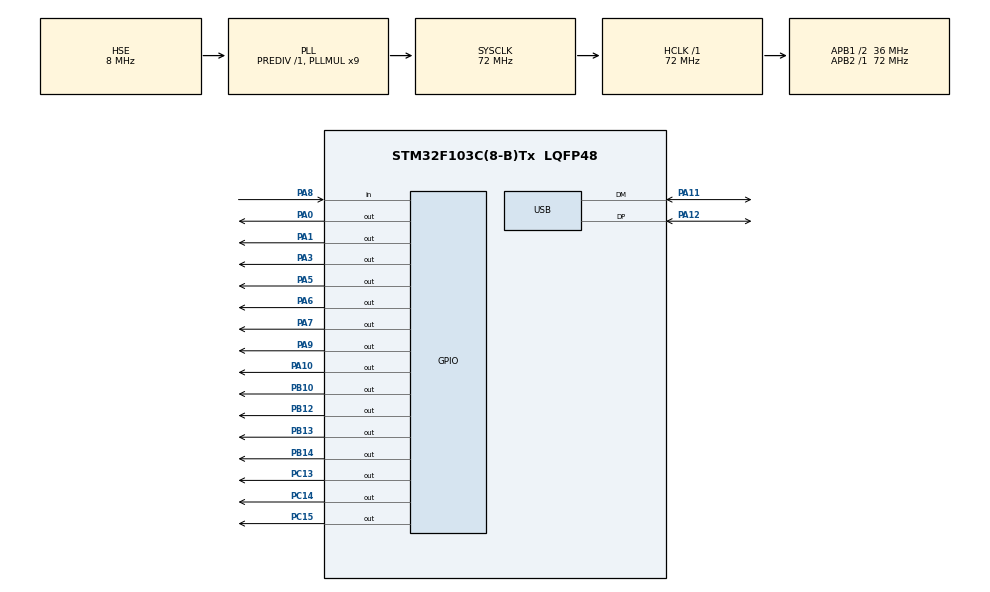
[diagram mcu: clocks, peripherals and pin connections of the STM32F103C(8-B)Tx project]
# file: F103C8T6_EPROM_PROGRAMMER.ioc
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Mcu.Family=STM32F1
Mcu.Name=STM32F103C(8-B)Tx
Mcu.Package=LQFP48
NVIC.PriorityGroup=NVIC_PRIORITYGROUP_4
NVIC.TIM2_IRQn=true\:0\:0\:false\:false\:true\:true\:true\:true
NVIC.TIM3_IRQn=true\:0\:0\:false\:false\:true\:true\:true\:true
NVIC.USB_LP_CAN1_RX0_IRQn=true\:0\:0\:false\:false\:true\:false\:true\:true
PA0-WKUP.Signal=GPIO_Output
PA1.Signal=GPIO_Output
PA10.Signal=GPIO_Output
PA11.Mode=Device
PA11.Signal=USB_DM
PA12.Mode=Device
PA12.Signal=USB_DP
PA13.Mode=Serial_Wire
PA13.Signal=SYS_JTMS-SWDIO
PA14.Mode=Serial_Wire
PA14.Signal=SYS_JTCK-SWCLK
PA3.Signal=GPIO_Output
PA5.Signal=GPIO_Output
PA6.Signal=GPIO_Output
PA7.Signal=GPIO_Output
PA8.Signal=GPIO_Input
PA9.Signal=GPIO_Output
PB10.Signal=GPIO_Output
PB12.Signal=GPIO_Output
PB13.Signal=GPIO_Output
PB14.Signal=GPIO_Output
PB3.Signal=SYS_JTDO-TRACESWO
PC13-TAMPER-RTC.Signal=GPIO_Output
PC14-OSC32_IN.Signal=GPIO_Output
PC15-OSC32_OUT.Signal=GPIO_Output
PD0-OSC_IN.Mode=HSE-External-Oscillator
PD0-OSC_IN.Signal=RCC_OSC_IN
PD1-OSC_OUT.Mode=HSE-External-Oscillator
PD1-OSC_OUT.Signal=RCC_OSC_OUT
ProjectManager.HeapSize=0x200
ProjectManager.StackSize=0x400
ProjectManager.TargetToolchain=STM32CubeIDE
RCC.AHBFreq_Value=72000000
RCC.APB1CLKDivider=RCC_HCLK_DIV2
RCC.APB1Freq_Value=36000000
RCC.APB1TimFreq_Value=72000000
RCC.APB2Freq_Value=72000000
RCC.APB2TimFreq_Value=72000000
RCC.HCLKFreq_Value=72000000
RCC.PLLMUL=RCC_PLL_MUL9
RCC.SYSCLKFreq_VALUE=72000000
RCC.SYSCLKSource=RCC_SYSCLKSOURCE_PLLCLK
RCC.USBFreq_Value=48000000
RCC.USBPrescaler=RCC_USBCLKSOURCE_PLL_DIV1_5
TIM2.Period=10000-1
TIM2.Prescaler=7600-1
TIM3.Period=2-1
TIM3.Prescaler=32-1
USB_DEVICE.CLASS_NAME_FS=CDC
USB_DEVICE.VirtualMode=Cdc
USB_DEVICE.VirtualModeFS=Cdc_FS
VP_TIM2_VS_ClockSourceINT.Mode=Internal
VP_TIM3_VS_ClockSourceINT.Mode=Internal
VP_USB_DEVICE_VS_USB_DEVICE_CDC_FS.Mode=CDC_FS
board=custom

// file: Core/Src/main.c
/* USER CODE BEGIN Header */
/**
  ******************************************************************************
  * @file           : main.c
  * @brief          : Main program body
  ******************************************************************************
  * @attention
  *
  * Copyright (c) 2025 STMicroelectronics.
  * All rights reserved.
  *
  * This software is licensed under terms that can be found in the LICENSE file
  * in the root directory of this software component.
  * If no LICENSE file comes with this software, it is provided AS-IS.
  *
  ******************************************************************************
  */
/* USER CODE END Header */
#include "main.h"
#include "usb_device.h"

/* USER CODE BEGIN Includes */
#include "usbd_cdc_if.h"
#include "com_usb.h"
#include "shift_registers.h"
#include "eprom_cmds.h"

//#include "stm32f1xx_hal.h"
//#include "stm32f1xx_hal_pcd.h"  // For USB

/* USER CODE END Includes */

TIM_HandleTypeDef htim2;
TIM_HandleTypeDef htim3;

void SystemClock_Config(void);
static void MX_GPIO_Init(void);
static void MX_TIM2_Init(void);
static void MX_TIM3_Init(void);

/* USER CODE BEGIN 0 */
//global variables
//uint8_t TxBuffer[] = "Hello From STM32 USB CDC Device To Virtual COM Port\r\n";
//char *data = "Hello from STM\n";
uint8_t buffer[SIZE_OF_BUFFER];
uint16_t len = 0;
uint8_t rx_usb_buf[SIZE_OF_BUFFER];

Flag flag_rx_usb = Idle;

//uint8_t memory[2048];

/* USER CODE END 0 */

int main(void)
{

  /* MCU Configuration--------------------------------------------------------*/

  /* Reset of all peripherals, Initializes the Flash interface and the Systick. */
  HAL_Init();

  /* Configure the system clock */
  SystemClock_Config();

  /* Initialize all configured peripherals */
  MX_GPIO_Init();
  MX_USB_DEVICE_Init();
  MX_TIM2_Init();
  MX_TIM3_Init();
  /* USER CODE BEGIN 2 */

  //// Not needed in SLEEP mode
  //This sets up EXTI18 to listen for USB resume events from suspend mode
//  __HAL_USB_WAKEUP_EXTI_CLEAR_FLAG();   // Clear any pending wake-ups
//  __HAL_USB_WAKEUP_EXTI_ENABLE_IT();    // Enable EXTI line 18 for USB resume/wake-up

  if(HAL_TIM_Base_Start_IT(&htim2)!=HAL_OK)
	  Error_Handler();

  HAL_GPIO_WritePin(LD1_GPIO_Port, LD1_Pin, RESET);

  //INIT
  set_EPROM_address(0x4000);//0b1000000 00000000;//TODO : ONLY IF 28C64 BIT 14 HIGH TO BE IN READING MODE
  //set_EPROM_address(0x0000);
  EPROM_reading_config();

//  printf("List Enabled IRQ:\n");
//  for (IRQn_Type irq = 0; irq < USBWakeUp_IRQn; irq++) {
//      if (NVIC_GetEnableIRQ(irq)) {
//          printf("Enabled IRQ: %d\n", irq);
//      }
//  }

  //TODO ADDED for sleep mode
  HAL_PWR_DisableSleepOnExit();//keeps the MCU in main loop after waking from interrupt
  HAL_NVIC_SetPriority(USB_LP_CAN1_RX0_IRQn, 0, 0);
  HAL_NVIC_EnableIRQ(USB_LP_CAN1_RX0_IRQn);  // THIS is the one that wakes on USB traffic

  //tied to EXTI line 18, which is dedicated to USB wake-up from STOP or STANDBY mode not for sleep mode
//  HAL_NVIC_SetPriority(USBWakeUp_IRQn, 0, 0);//assigning highest priority
//  HAL_NVIC_EnableIRQ(USBWakeUp_IRQn);//enabling the USB wake-up interrupt
  /* Manually ensure that USBWakeUp_IRQHandler is declared in the startup file (startup_stm32f103xx.s)
   * so the vector table correctly points to it
   * The USBWakeUp_IRQn corresponds to EXTI line 18, which is triggered by USB resume events
   */

  //the GUI receiver is waiting for a proper
//  uint8_t size_data = strlen(data);
//  CDC_Transmit_FS((uint8_t*)data, size_data);
//  printf("Sent : %s\n",data);

  //imitating a true EPROM content
//  memset(memory, '\0', sizeof(memory));
//  for(int i=0; i<sizeof(memory); i++){
//	  if(i<256)
//		  memory[i]=i;
//	  else
//		  memory[i]=0x3B;
//  }

  printf("\rbegin\n");

  /* USER CODE END 2 */

  /* Infinite loop */
  /* USER CODE BEGIN WHILE */
  while (1)
  {

	  if(flag_rx_usb == Event){
		  plugged_eprom.familly = E2PROM;
		  plugged_eprom.nbr_of_bytes = 8192;//2^13 addresses
		  plugged_eprom.eprom_id = AT28C64;

		  printf("RX - HEX : ");
		  printHex(buffer, len);
//		  printf("received : %s\n",buffer);
		  memcpy(rx_usb_buf, buffer, sizeof(rx_usb_buf));

		  uint16_t start_addr = 0;
		  uint32_t nbr_bytes = 0;

		  if(rx_usb_buf[FC_INDEX]==FC_READ || rx_usb_buf[FC_INDEX]==FC_WRITE){
			  start_addr = (rx_usb_buf[START_ADDR_INEX]<<8) + rx_usb_buf[START_ADDR_INEX+1];//over 2 bytes
			  nbr_bytes = (rx_usb_buf[NBR_BYTES_INDEX]<<16) + (rx_usb_buf[NBR_BYTES_INDEX+1]<<8) + rx_usb_buf[NBR_BYTES_INDEX+2];
		  }

		  if(rx_usb_buf[FC_INDEX]==FC_READ){
			  if(!verify_check_sum(rx_usb_buf, nbr_bytes)){
				  send_acknoledgment_to_GUI(FC_ERROR, start_addr, nbr_bytes);//NACK
			  }
			  else{
				  printf("EPROM->GUI : GUI EPROM memory reading request, start : %04" PRIX16 ", bytes : %06" PRIX32 "\n",start_addr, nbr_bytes);
				  read_and_send_memory_bytes_through_usb(start_addr, nbr_bytes);
			  }
		  }
		  else if(rx_usb_buf[FC_INDEX]==FC_WRITE){
			  if(!verify_check_sum(rx_usb_buf, nbr_bytes)){
				  send_acknoledgment_to_GUI(FC_ERROR, start_addr, nbr_bytes);
			  }
			  else{
				  printf("GUI->EPROM : GUI EPROM memory write request, start : %04" PRIX16 ", bytes : %06" PRIX32 "\n",start_addr, nbr_bytes);
//				  for(int i=0; i<nbr_bytes || i<(sizeof(rx_usb_buf)-CONTENT_INDEX) || i<(sizeof(memory)-start_addr); i++){
//					  memory[start_addr+i] = rx_usb_buf[CONTENT_INDEX+i];
//				  }
				  //identify_chip();
				  //plugged_eprom.eprom_id == D27256;
				  if(plugged_eprom.eprom_id == Unknown){
					  printf("Chip not identified\n");
					  send_acknoledgment_to_GUI(FC_ERROR, start_addr, nbr_bytes);//NACK
				  }
				  //if(nbr_bytes<(sizeof(rx_usb_buf)-CONTENT_INDEX-2) && nbr_bytes<(sizeof(memory)-start_addr)){
				  if(nbr_bytes<(sizeof(rx_usb_buf)-CONTENT_INDEX-2) && nbr_bytes<((plugged_eprom.nbr_of_bytes)-start_addr)){
					  for(int i=0; i<nbr_bytes; i++)
						  writeEPROM(start_addr+i, rx_usb_buf[CONTENT_INDEX+i]);

					  //memcpy(&memory[start_addr], &rx_usb_buf[CONTENT_INDEX], nbr_bytes);
				  	  send_acknoledgment_to_GUI(FC_WRITE, start_addr, nbr_bytes);
				  }
				  else{
					  printf("nbr_bytes out of range\n");
					  send_acknoledgment_to_GUI(FC_ERROR, start_addr, nbr_bytes);//NACK
				  }
			  }
		  }
		  else if(rx_usb_buf[FC_INDEX]==FC_ID_MEM){
			  if(!verify_check_sum(rx_usb_buf, nbr_bytes)){
				  send_acknoledgment_to_GUI(FC_ERROR, 0, 0);//NACK
			  }
			  else{
				  printf("GUI->EPROM : GUI EPROM memory identification request");

				  uint8_t manufacturerID = 0, deviceCode = 0;

				  uint16_t ID_chip_bytes = read_ID_chip_EPROM();
				  manufacturerID = (ID_chip_bytes>>8)&0xFF;
				  deviceCode = ID_chip_bytes&0xFF;
//				  manufacturerID = 0x89;
//				  deviceCode = 0x08;

				  send_memory_id_to_GUI(FC_ID_MEM, manufacturerID, deviceCode);
			  }
		  }
		  else{
			  send_acknoledgment_to_GUI(FC_ERROR, 0, 0);//NACK
		  }

		  flag_rx_usb = Idle;
	  }

//	  enter_and_get_out_sleep_mode();

    /* USER CODE END WHILE */

  }
}

void SystemClock_Config(void)
{
  RCC_OscInitTypeDef RCC_OscInitStruct = {0};
  RCC_ClkInitTypeDef RCC_ClkInitStruct = {0};
  RCC_PeriphCLKInitTypeDef PeriphClkInit = {0};

  /** Initializes the RCC Oscillators according to the specified parameters
  * in the RCC_OscInitTypeDef structure.
  */
  RCC_OscInitStruct.OscillatorType = RCC_OSCILLATORTYPE_HSE;
  RCC_OscInitStruct.HSEState = RCC_HSE_ON;
  RCC_OscInitStruct.HSEPredivValue = RCC_HSE_PREDIV_DIV1;
  RCC_OscInitStruct.HSIState = RCC_HSI_ON;
  RCC_OscInitStruct.PLL.PLLState = RCC_PLL_ON;
  RCC_OscInitStruct.PLL.PLLSource = RCC_PLLSOURCE_HSE;
  RCC_OscInitStruct.PLL.PLLMUL = RCC_PLL_MUL9;
  if (HAL_RCC_OscConfig(&RCC_OscInitStruct) != HAL_OK)
  {
    Error_Handler();
  }

  /** Initializes the CPU, AHB and APB buses clocks
  */
  RCC_ClkInitStruct.ClockType = RCC_CLOCKTYPE_HCLK|RCC_CLOCKTYPE_SYSCLK
                              |RCC_CLOCKTYPE_PCLK1|RCC_CLOCKTYPE_PCLK2;
  RCC_ClkInitStruct.SYSCLKSource = RCC_SYSCLKSOURCE_PLLCLK;
  RCC_ClkInitStruct.AHBCLKDivider = RCC_SYSCLK_DIV1;
  RCC_ClkInitStruct.APB1CLKDivider = RCC_HCLK_DIV2;
  RCC_ClkInitStruct.APB2CLKDivider = RCC_HCLK_DIV1;

  if (HAL_RCC_ClockConfig(&RCC_ClkInitStruct, FLASH_LATENCY_2) != HAL_OK)
  {
    Error_Handler();
  }
  PeriphClkInit.PeriphClockSelection = RCC_PERIPHCLK_USB;
  PeriphClkInit.UsbClockSelection = RCC_USBCLKSOURCE_PLL_DIV1_5;
  if (HAL_RCCEx_PeriphCLKConfig(&PeriphClkInit) != HAL_OK)
  {
    Error_Handler();
  }
}

static void MX_TIM2_Init(void)
{

  TIM_ClockConfigTypeDef sClockSourceConfig = {0};
  TIM_MasterConfigTypeDef sMasterConfig = {0};

  htim2.Instance = TIM2;
  htim2.Init.Prescaler = 7600-1;
  htim2.Init.CounterMode = TIM_COUNTERMODE_UP;
  htim2.Init.Period = 10000-1;
  htim2.Init.ClockDivision = TIM_CLOCKDIVISION_DIV1;
  htim2.Init.AutoReloadPreload = TIM_AUTORELOAD_PRELOAD_DISABLE;
  if (HAL_TIM_Base_Init(&htim2) != HAL_OK)
  {
    Error_Handler();
  }
  sClockSourceConfig.ClockSource = TIM_CLOCKSOURCE_INTERNAL;
  if (HAL_TIM_ConfigClockSource(&htim2, &sClockSourceConfig) != HAL_OK)
  {
    Error_Handler();
  }
  sMasterConfig.MasterOutputTrigger = TIM_TRGO_RESET;
  sMasterConfig.MasterSlaveMode = TIM_MASTERSLAVEMODE_DISABLE;
  if (HAL_TIMEx_MasterConfigSynchronization(&htim2, &sMasterConfig) != HAL_OK)
  {
    Error_Handler();
  }

}

static void MX_TIM3_Init(void)
{

  TIM_ClockConfigTypeDef sClockSourceConfig = {0};
  TIM_MasterConfigTypeDef sMasterConfig = {0};

  htim3.Instance = TIM3;
  htim3.Init.Prescaler = 32-1;
  htim3.Init.CounterMode = TIM_COUNTERMODE_UP;
  htim3.Init.Period = 2-1;
  htim3.Init.ClockDivision = TIM_CLOCKDIVISION_DIV1;
  htim3.Init.AutoReloadPreload = TIM_AUTORELOAD_PRELOAD_DISABLE;
  if (HAL_TIM_Base_Init(&htim3) != HAL_OK)
  {
    Error_Handler();
  }
  sClockSourceConfig.ClockSource = TIM_CLOCKSOURCE_INTERNAL;
  if (HAL_TIM_ConfigClockSource(&htim3, &sClockSourceConfig) != HAL_OK)
  {
    Error_Handler();
  }
  sMasterConfig.MasterOutputTrigger = TIM_TRGO_RESET;
  sMasterConfig.MasterSlaveMode = TIM_MASTERSLAVEMODE_DISABLE;
  if (HAL_TIMEx_MasterConfigSynchronization(&htim3, &sMasterConfig) != HAL_OK)
  {
    Error_Handler();
  }

}

static void MX_GPIO_Init(void)
{
  GPIO_InitTypeDef GPIO_InitStruct = {0};

  /* GPIO Ports Clock Enable */
  __HAL_RCC_GPIOC_CLK_ENABLE();
  __HAL_RCC_GPIOD_CLK_ENABLE();
  __HAL_RCC_GPIOA_CLK_ENABLE();
  __HAL_RCC_GPIOB_CLK_ENABLE();

  /*Configure GPIO pin Output Level */
  HAL_GPIO_WritePin(GPIOC, GPIO_PIN_13|GPIO_PIN_14|GPIO_PIN_15, GPIO_PIN_RESET);

  /*Configure GPIO pin Output Level */
  HAL_GPIO_WritePin(GPIOA, GPIO_PIN_0|GPIO_PIN_1|GPIO_PIN_3|GPIO_PIN_5
                          |GPIO_PIN_6|GPIO_PIN_7|GPIO_PIN_9|GPIO_PIN_10, GPIO_PIN_RESET);

  /*Configure GPIO pin Output Level */
  HAL_GPIO_WritePin(GPIOB, GPIO_PIN_10|GPIO_PIN_12|GPIO_PIN_13|GPIO_PIN_14, GPIO_PIN_RESET);

  /*Configure GPIO pins : PC13 PC14 PC15 */
  GPIO_InitStruct.Pin = GPIO_PIN_13|GPIO_PIN_14|GPIO_PIN_15;
  GPIO_InitStruct.Mode = GPIO_MODE_OUTPUT_PP;
  GPIO_InitStruct.Pull = GPIO_NOPULL;
  GPIO_InitStruct.Speed = GPIO_SPEED_FREQ_LOW;
  HAL_GPIO_Init(GPIOC, &GPIO_InitStruct);

  /*Configure GPIO pins : PA0 PA1 PA3 PA5
                           PA6 PA7 PA9 PA10 */
  GPIO_InitStruct.Pin = GPIO_PIN_0|GPIO_PIN_1|GPIO_PIN_3|GPIO_PIN_5
                          |GPIO_PIN_6|GPIO_PIN_7|GPIO_PIN_9|GPIO_PIN_10;
  GPIO_InitStruct.Mode = GPIO_MODE_OUTPUT_PP;
  GPIO_InitStruct.Pull = GPIO_NOPULL;
  GPIO_InitStruct.Speed = GPIO_SPEED_FREQ_LOW;
  HAL_GPIO_Init(GPIOA, &GPIO_InitStruct);

  /*Configure GPIO pins : PB10 PB12 PB13 PB14 */
  GPIO_InitStruct.Pin = GPIO_PIN_10|GPIO_PIN_12|GPIO_PIN_13|GPIO_PIN_14;
  GPIO_InitStruct.Mode = GPIO_MODE_OUTPUT_PP;
  GPIO_InitStruct.Pull = GPIO_NOPULL;
  GPIO_InitStruct.Speed = GPIO_SPEED_FREQ_LOW;
  HAL_GPIO_Init(GPIOB, &GPIO_InitStruct);

  /*Configure GPIO pin : PA8 */
  GPIO_InitStruct.Pin = GPIO_PIN_8;
  GPIO_InitStruct.Mode = GPIO_MODE_INPUT;
  GPIO_InitStruct.Pull = GPIO_NOPULL;
  HAL_GPIO_Init(GPIOA, &GPIO_InitStruct);

}

/* USER CODE BEGIN 4 */
//printf function avec pin debug SWO
int __io_putchar(int ch) {
    ITM_SendChar(ch);
    return ch;
}
void HAL_TIM_PeriodElapsedCallback(TIM_HandleTypeDef *htim){
	static int count = 0;

	if(htim->Instance == htim2.Instance){//1s tick
		count++;
		if(count%1==0)
			HAL_GPIO_TogglePin(LD1_GPIO_Port, LD1_Pin);
//		if(count%5==0){//every 5sec
//			uint8_t size_data = strlen(data);
//			CDC_Transmit_FS((uint8_t*)data, size_data);
//			printf("Sent : %s",data);
//		}
	}
//	else if(htim->Instance == htim3.Instance){//1us tick (1MHz)
//		tick_timer3_1us = 1;//used to toggle the state of \CE to write the 28C64
//	}
}

void enter_and_get_out_sleep_mode(void){
	//printf("Entering sleep mode...\n");
	/* Enter sleep after handling event
	 * wake up the MCU only when data is received on the USB
	 * in SLEEP mode only the CPU is disabled, all the peripherals are working*/

	__HAL_TIM_DISABLE_IT(&htim2, TIM_IT_UPDATE);//Disable TIM2 interrupt so it does not wake CPU

	// Not needed in SLEEP mode
	//	  __HAL_USB_WAKEUP_EXTI_CLEAR_FLAG();   // clear the EXTI flag before sleeping, to avoid false wake-ups
	//	  __HAL_USB_WAKEUP_EXTI_ENABLE_IT();    // Enable EXTI line 18 for USB resume/wake-up

	HAL_SuspendTick();//Stop the SysTick timer to avoid waking the CPU every 1ms
	//Enter sleep mode — only USB IRQ will wake it -> IRQ generates USB_LP_CAN1_RX0_IRQHandler in stm32f1xx_it.c
	HAL_PWR_EnterSLEEPMode(PWR_LOWPOWERREGULATOR_ON, PWR_SLEEPENTRY_WFI);//WFI (Wait For Interrupt)
	HAL_ResumeTick();//CPU Has Exited From Sleep Mode, Resume The SysTick

	__HAL_TIM_ENABLE_IT(&htim2, TIM_IT_UPDATE);//Re-enable TIM2 interrupt for LED blinking

	//by using USB CDC, SOF (Start Of Frame) interrupts are likely active. These happen every 1ms and wake the MCU
	//printf("Woke up!\n");
}

// Assume APB1 timer clock = 72 MHz
// Configure TIM3 as 1 MHz tick (1 µs per tick)
void low_pulse_CE_1us(void) {
    __HAL_TIM_SET_COUNTER(&htim3, 0);
    HAL_GPIO_WritePin(EPROM__CE_GPIO_Port, EPROM__CE_Pin, GPIO_PIN_RESET); // Low, enable (chip select active low)

    HAL_TIM_Base_Start(&htim3);//do not start IT
    while(__HAL_TIM_GET_COUNTER(&htim3) < 1) {
        __NOP();  // Wait exactly 1 µs
    }
    HAL_TIM_Base_Stop(&htim3);

    HAL_GPIO_WritePin(EPROM__CE_GPIO_Port, EPROM__CE_Pin, GPIO_PIN_SET);   // High
}

/* USER CODE END 4 */

void Error_Handler(void)
{
  __disable_irq();
  while (1)
  {
  }
}
